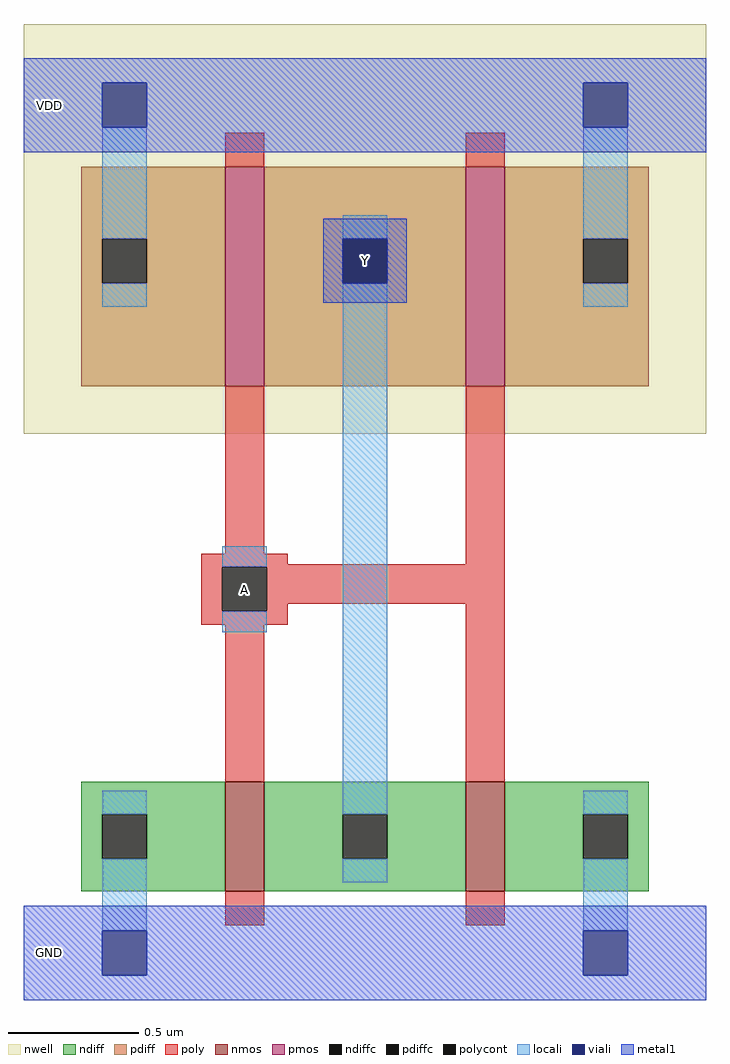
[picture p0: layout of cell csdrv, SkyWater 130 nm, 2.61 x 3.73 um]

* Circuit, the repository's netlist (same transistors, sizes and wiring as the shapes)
* NGSPICE file created from csdrv.ext - technology: sky130A

.subckt csdrv A Y VDD GND
X0 GND A Y VSUBS sky130_fd_pr__nfet_01v8 ad=0.231 pd=1.94 as=0.1617 ps=1.19 w=0.42 l=0.15
X1 Y A GND VSUBS sky130_fd_pr__nfet_01v8 ad=0.1617 pd=1.19 as=0.231 ps=1.94 w=0.42 l=0.15
X2 VDD A Y w_0_397# sky130_fd_pr__pfet_01v8 ad=0.462 pd=2.78 as=0.3234 ps=1.61 w=0.84 l=0.15
X3 Y A VDD w_0_397# sky130_fd_pr__pfet_01v8 ad=0.3234 pd=1.61 as=0.462 ps=2.78 w=0.84 l=0.15
.ends

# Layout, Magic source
magic
tech sky130A
magscale 1 2
<< nwell >>
rect 0 397 522 710
<< nmos >>
rect 154 47 184 131
rect 338 47 368 131
<< pmos >>
rect 154 433 184 601
rect 338 433 368 601
<< ndiff >>
rect 44 106 154 131
rect 44 72 60 106
rect 94 72 154 106
rect 44 47 154 72
rect 184 106 338 131
rect 184 72 244 106
rect 278 72 338 106
rect 184 47 338 72
rect 368 106 478 131
rect 368 72 428 106
rect 462 72 478 106
rect 368 47 478 72
<< pdiff >>
rect 44 546 154 601
rect 44 512 60 546
rect 94 512 154 546
rect 44 433 154 512
rect 184 546 338 601
rect 184 512 244 546
rect 278 512 338 546
rect 184 433 338 512
rect 368 546 478 601
rect 368 512 428 546
rect 462 512 478 546
rect 368 433 478 512
<< ndiffc >>
rect 60 72 94 106
rect 244 72 278 106
rect 428 72 462 106
<< pdiffc >>
rect 60 512 94 546
rect 244 512 278 546
rect 428 512 462 546
<< poly >>
rect 154 601 184 627
rect 338 601 368 627
rect 154 305 184 433
rect 136 297 202 305
rect 338 297 368 433
rect 136 295 368 297
rect 136 261 152 295
rect 186 267 368 295
rect 186 261 202 267
rect 136 251 202 261
rect 154 131 184 251
rect 338 131 368 267
rect 154 21 184 47
rect 338 21 368 47
<< polycont >>
rect 152 261 186 295
<< locali >>
rect 60 546 94 631
rect 60 494 94 512
rect 244 546 278 564
rect 152 295 186 311
rect 152 245 186 261
rect 60 106 94 124
rect 60 17 94 72
rect 244 106 278 512
rect 428 546 462 631
rect 428 494 462 512
rect 244 54 278 72
rect 428 106 462 124
rect 428 17 462 72
<< viali >>
rect 60 631 94 665
rect 428 631 462 665
rect 244 512 278 546
rect 60 -17 94 17
rect 428 -17 462 17
<< metal1 >>
rect 0 665 522 684
rect 0 631 60 665
rect 94 631 428 665
rect 462 631 522 665
rect 0 612 522 631
rect 229 546 293 561
rect 229 512 244 546
rect 278 512 293 546
rect 229 497 293 512
rect 0 17 522 36
rect 0 -17 60 17
rect 94 -17 428 17
rect 462 -17 522 17
rect 0 -36 522 -17
<< labels >>
rlabel polycont 169 278 169 278 0 A
port 1 nsew
rlabel viali 261 529 261 529 0 Y
port 2 nsew
rlabel metal1 20 648 20 648 0 VDD
port 3 nsew
rlabel metal1 20 0 20 0 0 GND
port 4 nsew
<< end >>
